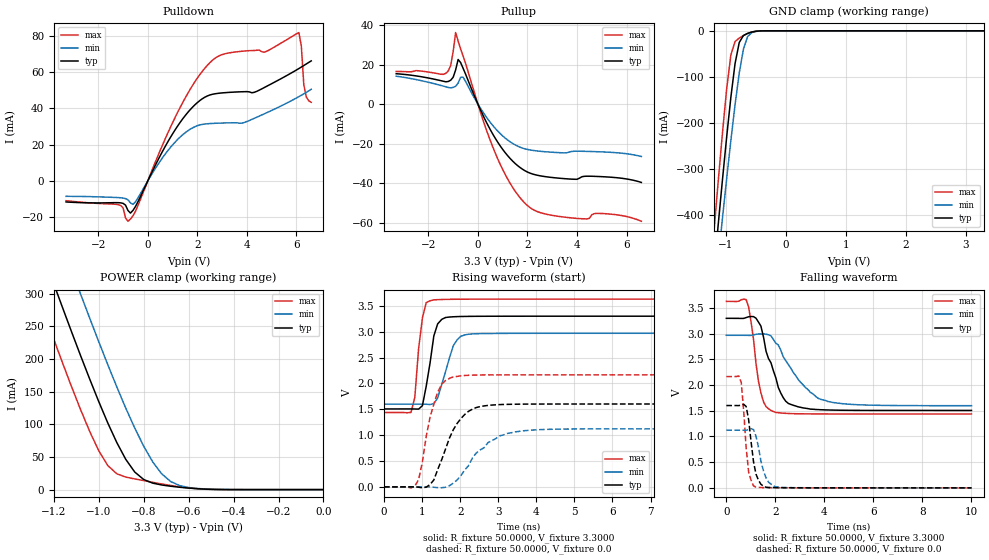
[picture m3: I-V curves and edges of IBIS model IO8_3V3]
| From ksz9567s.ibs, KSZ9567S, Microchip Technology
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|   Model IO8_3V3
[Model]  IO8_3V3
Model_type I/O
Polarity   Non-Inverting
Enable   Active-High
Vinl =   1.2000V
Vinh =   2.1000V
Vmeas =  1.6500V
Vref =   0.0V
C_comp   1.5000pF   1.4000pF   1.7000pF
[Temperature Range]   42.0000   0.1250k   -40.0000
[Voltage Range]   3.3000V   2.9700V   3.6300V
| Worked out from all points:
|   slope of the pulldown table from 0 to 0.495 V, typ, clamps not added: 36.1 ohm
|   slope of the pullup table from 0 to 0.495 V, typ, clamps not added: 38.6 ohm
|   GND clamp passes 1 mA (typ) near -0.50 V on its own axis
|   POWER clamp passes 1 mA (typ) near -0.54 V on its own axis
|   rising waveform, R_fixture 50.0000, V_fixture 3.3000: 20-80 % time 231ps typ, 333ps min, 171ps max; typ from 1.51 V to 3.3 V
|   rising waveform, R_fixture 50.0000, V_fixture 0.0: 20-80 % time 575ps typ, 816ps min, 373ps max; typ from 0 V to 1.6 V
|   falling waveform, R_fixture 50.0000, V_fixture 3.3000: 20-80 % time 689ps typ, 1.2ns min, 378ps max; typ from 3.3 V to 1.51 V
|   falling waveform, R_fixture 50.0000, V_fixture 0.0: 20-80 % time 268ps typ, 336ps min, 217ps max; typ from 1.6 V to 0 V
[Pulldown]
|Voltage   I(typ)   I(min)   I(max)
-3.3V     -11.61mA   -8.502mA   -10.91mA
-1.2V     -12mA      -9.195mA   -13.07mA
-700mV    -17.72mA   -12.12mA   -21mA
1.4V      33.95mA    25.28mA    42.87mA
2.2V      45.18mA    31.09mA    60.28mA
2.9V      48.27mA    31.79mA    68.96mA
4.3V      48.74mA    34.43mA    71.77mA
6.1V      61.81mA    46.35mA    81.62mA
6.2V      62.64mA    47.12mA    74.17mA
6.3V      63.48mA    47.9mA     52.86mA
6.4V      64.34mA    48.71mA    46.21mA
6.6V      66.04mA    50.38mA    43.24mA
[Pullup]
|Voltage   I(typ)   I(min)   I(max)
-3.3V     15.36mA    14.12mA    16.52mA
-1.3V     11.29mA    8.766mA    15.54mA
-1.1V     12.08mA    8.245mA    19.5mA
-900mV    17.32mA    9.027mA    36.19mA
-800mV    22.56mA    10.6mA     31.91mA
-600mV    18.15mA    13.65mA    24.41mA
600mV     -15.18mA   -10.83mA   -21.7mA
1.2V      -26.08mA   -18.17mA   -37.88mA
1.9V      -33.71mA   -22.63mA   -50.15mA
3.1V      -37.27mA   -24.43mA   -56.49mA
5.1V      -36.77mA   -24.22mA   -55.41mA
6.6V      -39.63mA   -26.5mA    -59.29mA
[GND_clamp]
|Voltage   I(typ)   I(min)   I(max)
-3.3V     -3.678A    -3.436A    -3.916A
-1.2V     -519mA     -585.5mA   -433.8mA
-1.13V    -420.3mA   -495.9mA   -325.9mA
-1.06V    -323.9mA   -407.8mA   -222.2mA
-990mV    -231.1mA   -321.7mA   -126.7mA
-920mV    -144.7mA   -238.8mA   -52.71mA
-850mV    -71.39mA   -160.9mA   -23.36mA
-780mV    -25.35mA   -91.91mA   -15.75mA
-710mV    -10.22mA   -39.55mA   -10.37mA
-640mV    -5.456mA   -12.39mA   -5.873mA
-360mV    -20.95uA   -64.41uA   -3.06uA
3.3V      195.9pA    11.54uA    120.1pA
[POWER_clamp]
|Voltage   I(typ)   I(min)   I(max)
-3.28V    2.285A     2.35A      3.227A
-1.28V    390.7mA    482.8mA    306.2mA
-1.2V     315.2mA    409.2mA    230.2mA
-1.16V    277.8mA    372.4mA    193mA
-1.08V    204.5mA    298.8mA    121.8mA
-960mV    102.2mA    191.6mA    36.92mA
-880mV    46.44mA    125mA      19.21mA
-840mV    26.97mA    94.37mA    16.4mA
-760mV    9.925mA    42.53mA    11.18mA
-680mV    5.17mA     12.36mA    6.315mA
-520mV    636.6uA    885.3uA    435.6uA
0V        195.9pA    2.768nA    157.9pA
[Ramp]
| variable   typ   min   max
dV/dt_r  0.9614/0.5580n   0.6733/0.8441n   1.2997/0.3618n
dV/dt_f  1.0758/0.6991n   0.8224/1.1994n   1.3151/0.3839n
R_load = 50.0000
[Rising Waveform]
R_fixture= 50.0000
V_fixture= 3.3000
V_fixture_min= 2.9700
V_fixture_max= 3.6300
|time   V(typ)   V(min)   V(max)
0s        1.507V     1.599V     1.438V
710ps     1.507V     1.599V     1.44V
810ps     1.506V     1.599V     1.728V
910ps     1.504V     1.599V     2.673V
1.01ns    1.57V      1.6V       3.268V
1.21ns    2.394V     1.592V     3.598V
1.41ns    3.151V     1.719V     3.62V
1.82ns    3.289V     2.729V     3.627V
2.12ns    3.295V     2.938V     3.629V
10ns      3.3V       2.97V      3.63V
[Rising Waveform]
R_fixture= 50.0000
V_fixture= 0.0
V_fixture_min= 0.0
V_fixture_max= 0.0
|time   V(typ)   V(min)   V(max)
0s        -306.4nV   475.3nV    -5.989uV
810ps     849.8uV    -7.515uV   11.42mV
910ps     -6.224mV   -24.89uV   140mV
1.21ns    45.4mV     -511.2uV   1.346V
1.41ns    333.1mV    -14.87mV   1.829V
1.82ns    1.104V     71.94mV    2.126V
2.42ns    1.533V     651.6mV    2.162V
3.03ns    1.591V     984.8mV    2.166V
3.43ns    1.598V     1.064V     2.166V
10ns      1.602V     1.122V     2.166V
[Falling Waveform]
R_fixture= 50.0000
V_fixture= 3.3000
V_fixture_min= 2.9700
V_fixture_max= 3.6300
|time   V(typ)   V(min)   V(max)
0s        3.3V       2.97V      3.63V
810ps     3.315V     2.969V     3.664V
1.01ns    3.335V     2.968V     3.227V
1.41ns    3.15V      2.997V     1.85V
1.62ns    2.659V     2.992V     1.582V
1.92ns    2.278V     2.89V      1.485V
2.22ns    1.847V     2.682V     1.458V
2.53ns    1.643V     2.401V     1.448V
3.84ns    1.521V     1.725V     1.439V
10ns      1.507V     1.599V     1.438V
[Falling Waveform]
R_fixture= 50.0000
V_fixture= 0.0
V_fixture_min= 0.0
V_fixture_max= 0.0
|time   V(typ)   V(min)   V(max)
0s        1.602V     1.122V     2.166V
510ps     1.602V     1.122V     2.179V
610ps     1.607V     1.123V     2.049V
810ps     1.583V     1.123V     773mV
910ps     1.324V     1.131V     308.1mV
1.11ns    505.3mV    1.132V     37.38mV
1.21ns    267.8mV    1.005V     13.37mV
1.62ns    12.03mV    195.5mV    4.254mV
2.02ns    4.579mV    17.47mV    2.165mV
10ns      1.633uV    -2.958uV   1.215uV
